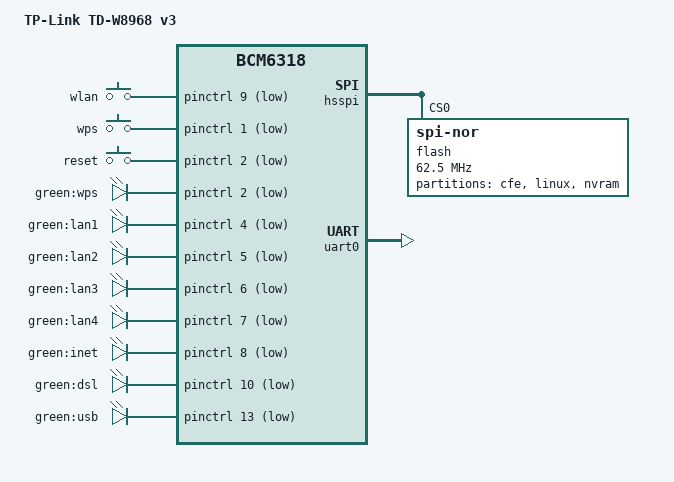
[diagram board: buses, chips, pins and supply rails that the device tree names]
#include "bcm6318.dtsi"

#include <dt-bindings/input/input.h>

/ {
	model = "TP-Link TD-W8968 v3";
	compatible = "tplink,td-w8968-v3", "brcm,bcm6318";

	aliases {
		led-boot = &dsl_green;
		led-failsafe = &dsl_green;
		led-running = &dsl_green;
		led-upgrade = &dsl_green;
	};

	chosen {
		bootargs = "rootfstype=squashfs,jffs2 noinitrd console=ttyS0,115200";
		stdout-path = "serial0:115200n8";
	};

	keys {
		compatible = "gpio-keys-polled";
		#address-cells = <1>;
		#size-cells = <0>;
		poll-interval = <20>;

		wlan {
			label = "wlan";
			gpios = <&pinctrl 9 1>;
			linux,code = <KEY_WLAN>;
			debounce-interval = <60>;
		};

		wps {
			label = "wps";
			gpios = <&pinctrl 1 1>;
			linux,code = <KEY_WPS_BUTTON>;
			debounce-interval = <60>;
		};

		reset {
			label = "reset";
			gpios = <&pinctrl 2 1>;
			linux,code = <KEY_RESTART>;
			debounce-interval = <60>;
		};
	};

	leds {
		compatible = "gpio-leds";

		wps_green {
			label = "green:wps";
			gpios = <&pinctrl 2 1>;
		};
		lan1_green {
			label = "green:lan1";
			gpios = <&pinctrl 4 1>;
		};
		lan2_green {
			label = "green:lan2";
			gpios = <&pinctrl 5 1>;
		};
		lan3_green {
			label = "green:lan3";
			gpios = <&pinctrl 6 1>;
		};
		lan4_green {
			label = "green:lan4";
			gpios = <&pinctrl 7 1>;
		};
		inet_green {
			label = "green:inet";
			gpios = <&pinctrl 8 1>;
		};
		dsl_green: dsl_green {
			label = "green:dsl";
			gpios = <&pinctrl 10 1>;
		};
		usb_green {
			label = "green:usb";
			gpios = <&pinctrl 13 1>;
		};
	};
};

&hsspi {
	status = "okay";

	flash@0 {
		compatible = "jedec,spi-nor";
		spi-max-frequency = <62500000>;
		spi-tx-bus-width = <2>;
		spi-rx-bus-width = <2>;
		reg = <0>;

		#address-cells = <1>;
		#size-cells = <1>;

		partitions {
			compatible = "fixed-partitions";
			#address-cells = <1>;
			#size-cells = <1>;

			cfe@0 {
				reg = <0x000000 0x010000>;
				label = "cfe";
				read-only;
			};

			linux@10000 {
				reg = <0x010000 0x7e0000>;
				label = "linux";
				compatible = "brcm,bcm963xx-imagetag";
			};

			nvram@7f0000 {
				reg = <0x7f0000 0x010000>;
				label = "nvram";
			};
		};
	};
};

&uart0 {
	status = "okay";
};
